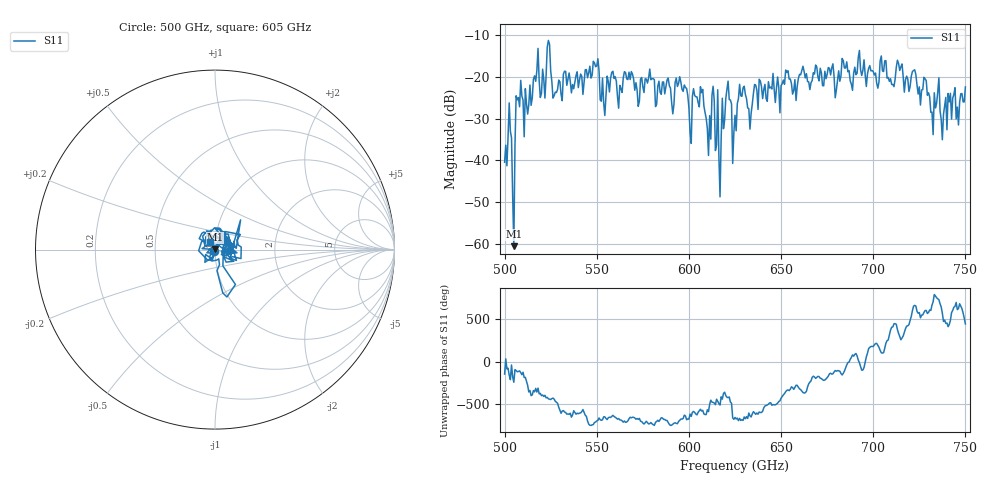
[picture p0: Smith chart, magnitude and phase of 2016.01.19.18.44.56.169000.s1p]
!Created with skrf (http://scikit-rf.org).
# GHz S RI R 50.0
!freq ReS11 ImS11
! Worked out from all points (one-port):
!   401 points, 500 GHz to 750 GHz, reference 50 ohm
!   lowest |S11| = -60.6 dB at 505 GHz (marker M1), VSWR 1.00, Z = 50 + j0.0822 ohm
!   |S11| at or under -10 dB: start of sweep to end of sweep
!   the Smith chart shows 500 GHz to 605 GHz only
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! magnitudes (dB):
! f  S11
! 500 GHz  -40.5
! 502.5 GHz  -26.3
! 505 GHz  -60.6
! 507.5 GHz  -25.0
! 511.9 GHz  -26.5
! 523.8 GHz  -11.3
! 526.9 GHz  -24.5
! 531.2 GHz  -25.7
! 549.4 GHz  -17.6
! 553.1 GHz  -20.3
! 558.8 GHz  -18.7
! 562.5 GHz  -22.1
! 593.8 GHz  -22.3
! 600.6 GHz  -33.3
! 607.5 GHz  -23.0
! 610.6 GHz  -38.9
! 612.5 GHz  -24.5
! 615.6 GHz  -23.1
! 621.2 GHz  -21.0
! 625 GHz  -29.2
! 628.8 GHz  -24.7
! 633.1 GHz  -32.5
! 636.9 GHz  -23.3
! 656.2 GHz  -24.2
! 687.5 GHz  -21.0
! 718.8 GHz  -20.6
! 737.5 GHz  -35.1
! 750 GHz  -22.4
